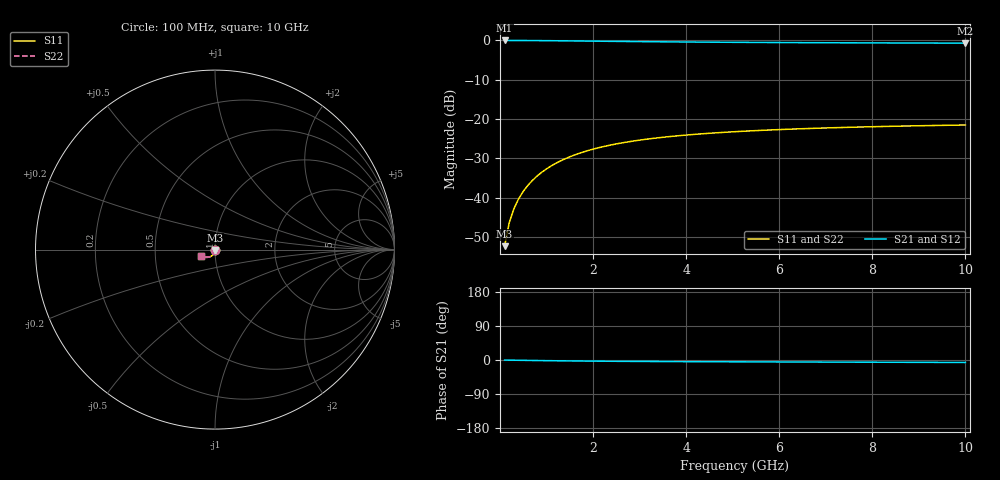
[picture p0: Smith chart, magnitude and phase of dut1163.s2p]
! Touchstone file exported from HFSS 2024.1.0
!  File:  C:/UserFiles/LocalFiles/RDL_TSV_Batchsim/temp_TSV1_1163_1780073093.aedt
!  Generated:  12:50:51 AM May 30, 2026
!  Design:  TSV1
!  Project:  temp_TSV1_1163_1780073093
!  Setup:  Setup1
!  Solution:  Sweep
! Variables:
!  dtsv = 14.95um
!  hbump = 3um
!  htsv = 99.02um
!  lrdl = 252.1521522um
!  p = 40
!  p1 = 47.64um
!  t = 500um
!  trdl = 3um
!  wrdl = 24.89489489um
# GHz S MA R 50.000000
! Terminal data exported
! Port[1] = TSV22_T1
! Port[2] = TSV22_T2
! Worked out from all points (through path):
!   100 points, 100 MHz to 10 GHz, reference 50 ohm
!   highest |S21| = 0.00 dB at 100 MHz (marker M1); lowest = -0.7 dB at 10 GHz (marker M2)
!   lowest |S11| = -52.4 dB at 100 MHz (marker M3), VSWR 1.00, Z = 50 - j0.241 ohm
!   |S11| at or under -10 dB: start of sweep to end of sweep
!   |S22| runs from -52.4 to -21.5 dB; largest |S21 - S12| = 4.1e-15
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0.1  0.00241 -89.5  0.9998 -0.2  0.9998 -0.2  0.00241 -89.5
! Gamma 0 0 0 0
! Port Impedance 50 0 50 0
0.2  0.004821 -92.1  0.9996 -0.4  0.9996 -0.4  0.004821 -92.1
0.3  0.007228 -94.0  0.9992 -0.6  0.9992 -0.6  0.007228 -94.0
0.4  0.00962 -95.9  0.9987 -0.7  0.9987 -0.7  0.00962 -95.9
0.5  0.01199 -97.7  0.9981 -0.9  0.9981 -0.9  0.01199 -97.7
0.6  0.01432 -99.4  0.9974 -1.1  0.9974 -1.1  0.01432 -99.4
0.7  0.01661 -101.1  0.9965 -1.2  0.9965 -1.2  0.01661 -101.1
0.8  0.01886 -102.7  0.9956 -1.4  0.9956 -1.4  0.01886 -102.7
0.9  0.02106 -104.3  0.9946 -1.6  0.9946 -1.6  0.02106 -104.3
1.1  0.02529 -107.4  0.9923 -1.9  0.9923 -1.9  0.02529 -107.4
1.4  0.0312 -111.8  0.9884 -2.3  0.9884 -2.3  0.0312 -111.8
1.6  0.03482 -114.5  0.9857 -2.5  0.9857 -2.5  0.03482 -114.5
1.8  0.0382 -117.0  0.9829 -2.8  0.9829 -2.8  0.0382 -117.0
2.1  0.04283 -120.6  0.9786 -3.1  0.9786 -3.1  0.04283 -120.6
2.5  0.04822 -124.8  0.9731 -3.4  0.9731 -3.4  0.04822 -124.8
2.9  0.05284 -128.4  0.9679 -3.7  0.9679 -3.7  0.05284 -128.4
3.4  0.05772 -132.4  0.962 -4.0  0.962 -4.0  0.05772 -132.4
4.2  0.06393 -137.6  0.9539 -4.4  0.9539 -4.4  0.06393 -137.6
5.1  0.06926 -142.2  0.9465 -4.8  0.9465 -4.8  0.06926 -142.2
6.7  0.07599 -148.3  0.9367 -5.4  0.9367 -5.4  0.07599 -148.3
8.4  0.08079 -152.9  0.9295 -6.0  0.9295 -6.0  0.08078 -152.9
10  0.08397 -156.2  0.9246 -6.5  0.9246 -6.5  0.08397 -156.2
